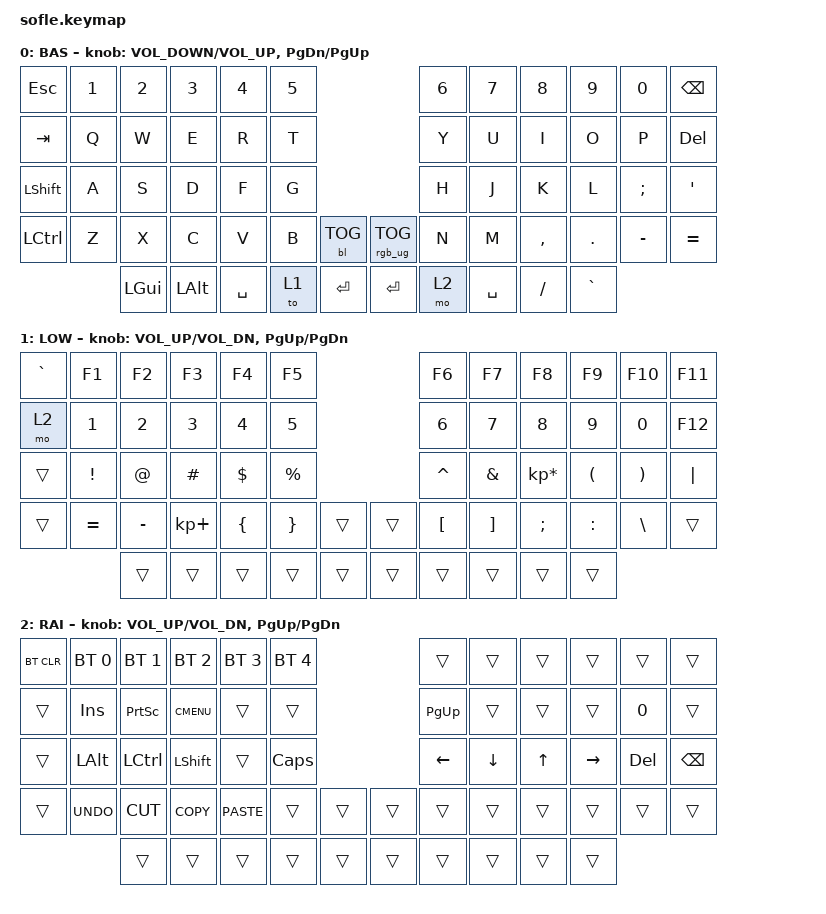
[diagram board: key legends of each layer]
/*
 * Copyright (c) 2020 The ZMK Contributors
 *
 * SPDX-License-Identifier: MIT
 */

#include <behaviors.dtsi>
#include <dt-bindings/zmk/backlight.h>
#include <dt-bindings/zmk/bt.h>
#include <dt-bindings/zmk/keys.h>
#include <dt-bindings/zmk/rgb.h>

/ {
    keymap {
        compatible = "zmk,keymap";

        default_layer {
            display-name = "BAS";

            // ------------------------------------------------------------------------------------------------------------
            // |  `    |  1  |  2  |  3   |  4   |  5   |                   |  6   |  7    |  8    |  9   |   0   |       |
            // |  ESC  |  Q  |  W  |  E   |  R   |  T   |                   |  Y   |  U    |  I    |  O   |   P   | BKSPC |
            // |  TAB  |  A  |  S  |  D   |  F   |  G   |                   |  H   |  J    |  K    |  L   |   ;   |   '   |
            // | SHIFT |  Z  |  X  |  C   |  V   |  B   |  MUTE  |  |       |  N   |  M    |  ,    |  .   |   /   | SHIFT |
            //               | GUI | ALT  | CTRL | LOWER|  ENTER |  | SPACE | RAISE| CTRL  | ALT   | GUI  |

            bindings = <
&kp ESCAPE      &kp N1  &kp N2    &kp N3    &kp N4     &kp N5                                 &kp N6  &kp N7     &kp N8     &kp N9     &kp N0         &kp BACKSPACE
&kp TAB         &kp Q   &kp W     &kp E     &kp R      &kp T                                  &kp Y   &kp U      &kp I      &kp O      &kp P          &kp DELETE
&kp LEFT_SHIFT  &kp A   &kp S     &kp D     &kp F      &kp G                                  &kp H   &kp J      &kp K      &kp L      &kp SEMICOLON  &kp SQT
&kp LCTRL       &kp Z   &kp X     &kp C     &kp V      &kp B   &bl BL_TOG    &rgb_ug RGB_TOG  &kp N   &kp M      &kp COMMA  &kp DOT    &kp MINUS      &kp EQUAL
                        &kp LGUI  &kp LALT  &kp SPACE  &to 1   &kp RET       &kp ENTER        &mo 2   &kp SPACE  &kp SLASH  &kp GRAVE
            >;

            sensor-bindings =
                <&inc_dec_kp C_VOLUME_DOWN C_VOLUME_UP>,
                <&inc_dec_kp PAGE_DOWN PAGE_UP>;
        };

        lower_layer {
            display-name = "LOW";

            // ------------------------------------------------------------------------------------------------------------
            // | `     |  F1 |  F2 |  F3  |  F4  |  F5  |                   |  F6  |  F7   |  F8   |  F9  |  F10  |  F11  |
            // | RAISE |   1 |   2 |   3  |   4  |   5  |                   |   6  |   7   |   8   |   9  |    0  |  F12  |
            // |       |  !  |  @  |  #   |  $   |  %   |                   |  ^   |  &    |  *    |  (   |   )   |   |   |
            // |       |  =  |  -  |  +   |  {   |  }   |        |  |       |  [   |  ]    |  ;    |  :   |   \   |       |
            //               |     |      |      |      |        |  |       |      |       |       |      |

            bindings = <
&kp GRAVE  &kp F1     &kp F2     &kp F3       &kp F4    &kp F5                       &kp F6     &kp F7    &kp F8           &kp F9     &kp F10   &kp F11
&mo 2      &kp N1     &kp N2     &kp N3       &kp N4    &kp N5                       &kp N6     &kp N7    &kp N8           &kp N9     &kp N0    &kp F12
&trans     &kp EXCL   &kp AT     &kp HASH     &kp DLLR  &kp PRCNT                    &kp CARET  &kp AMPS  &kp KP_MULTIPLY  &kp LPAR   &kp RPAR  &kp PIPE
&trans     &kp EQUAL  &kp MINUS  &kp KP_PLUS  &kp LBRC  &kp RBRC   &trans    &trans  &kp LBKT   &kp RBKT  &kp SEMI         &kp COLON  &kp BSLH  &trans
                      &trans     &trans       &trans    &trans     &trans    &trans  &trans     &trans    &trans           &trans
            >;

            sensor-bindings = <&inc_dec_kp C_VOL_UP C_VOL_DN &inc_dec_kp PG_UP PG_DN>;
        };

        raise_layer {
            display-name = "RAI";

            // ------------------------------------------------------------------------------------------------------------
            // |BTCLR| BT1  | BT2  |  BT3  |  BT4  |  BT5 |                |      |      |       |      |       |       |
            // |     | INS  | PSCR | GUI   |       |      |                | PGUP |      |       |      |       |       |
            // |     | ALT  | CTRL | SHIFT |       | CAPS |                |  <-  |   v  |   ^   |  ->  |  DEL  | BKSPC |
            // |     | UNDO | CUT  | COPY  | PASTE |      |      |  |      |      |      |       |      |       |       |
            //              |      |       |       |      |      |  |      |      |      |       |      |

            bindings = <
&bt BT_CLR  &bt BT_SEL 0  &bt BT_SEL 1  &bt BT_SEL 2  &bt BT_SEL 3  &bt BT_SEL 4                    &trans     &trans    &trans  &trans     &trans   &trans
&trans      &kp INS       &kp PSCRN     &kp K_CMENU   &trans        &trans                          &kp PG_UP  &trans    &trans  &trans     &kp N0   &trans
&trans      &kp LALT      &kp LCTRL     &kp LSHFT     &trans        &kp CLCK                        &kp LEFT   &kp DOWN  &kp UP  &kp RIGHT  &kp DEL  &kp BSPC
&trans      &kp K_UNDO    &kp K_CUT     &kp K_COPY    &kp K_PASTE   &trans        &trans    &trans  &trans     &trans    &trans  &trans     &trans   &trans
                          &trans        &trans        &trans        &trans        &trans    &trans  &trans     &trans    &trans  &trans
            >;

            sensor-bindings = <&inc_dec_kp C_VOL_UP C_VOL_DN &inc_dec_kp PG_UP PG_DN>;
        };
    };
};
